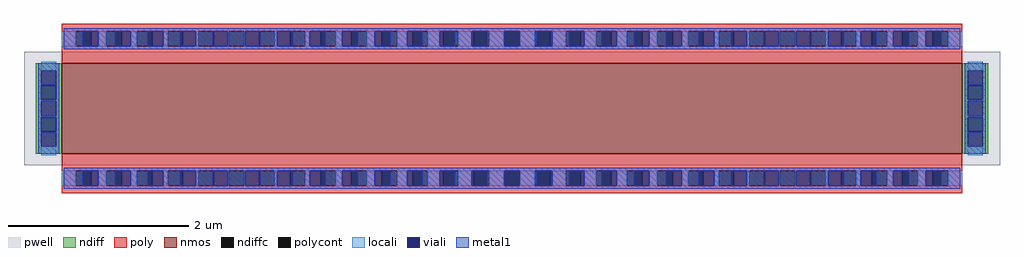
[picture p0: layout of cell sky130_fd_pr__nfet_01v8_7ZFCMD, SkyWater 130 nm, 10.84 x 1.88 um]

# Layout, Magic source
magic
tech sky130A
magscale 1 2
<< pwell >>
rect -1084 -126 1084 126
<< nmos >>
rect -1000 -100 1000 100
<< ndiff >>
rect -1058 85 -1000 100
rect -1058 51 -1046 85
rect -1012 51 -1000 85
rect -1058 17 -1000 51
rect -1058 -17 -1046 17
rect -1012 -17 -1000 17
rect -1058 -51 -1000 -17
rect -1058 -85 -1046 -51
rect -1012 -85 -1000 -51
rect -1058 -100 -1000 -85
rect 1000 85 1058 100
rect 1000 51 1012 85
rect 1046 51 1058 85
rect 1000 17 1058 51
rect 1000 -17 1012 17
rect 1046 -17 1058 17
rect 1000 -51 1058 -17
rect 1000 -85 1012 -51
rect 1046 -85 1058 -51
rect 1000 -100 1058 -85
<< ndiffc >>
rect -1046 51 -1012 85
rect -1046 -17 -1012 17
rect -1046 -85 -1012 -51
rect 1012 51 1046 85
rect 1012 -17 1046 17
rect 1012 -85 1046 -51
<< poly >>
rect -1000 172 1000 188
rect -1000 138 -969 172
rect -935 138 -901 172
rect -867 138 -833 172
rect -799 138 -765 172
rect -731 138 -697 172
rect -663 138 -629 172
rect -595 138 -561 172
rect -527 138 -493 172
rect -459 138 -425 172
rect -391 138 -357 172
rect -323 138 -289 172
rect -255 138 -221 172
rect -187 138 -153 172
rect -119 138 -85 172
rect -51 138 -17 172
rect 17 138 51 172
rect 85 138 119 172
rect 153 138 187 172
rect 221 138 255 172
rect 289 138 323 172
rect 357 138 391 172
rect 425 138 459 172
rect 493 138 527 172
rect 561 138 595 172
rect 629 138 663 172
rect 697 138 731 172
rect 765 138 799 172
rect 833 138 867 172
rect 901 138 935 172
rect 969 138 1000 172
rect -1000 100 1000 138
rect -1000 -138 1000 -100
rect -1000 -172 -969 -138
rect -935 -172 -901 -138
rect -867 -172 -833 -138
rect -799 -172 -765 -138
rect -731 -172 -697 -138
rect -663 -172 -629 -138
rect -595 -172 -561 -138
rect -527 -172 -493 -138
rect -459 -172 -425 -138
rect -391 -172 -357 -138
rect -323 -172 -289 -138
rect -255 -172 -221 -138
rect -187 -172 -153 -138
rect -119 -172 -85 -138
rect -51 -172 -17 -138
rect 17 -172 51 -138
rect 85 -172 119 -138
rect 153 -172 187 -138
rect 221 -172 255 -138
rect 289 -172 323 -138
rect 357 -172 391 -138
rect 425 -172 459 -138
rect 493 -172 527 -138
rect 561 -172 595 -138
rect 629 -172 663 -138
rect 697 -172 731 -138
rect 765 -172 799 -138
rect 833 -172 867 -138
rect 901 -172 935 -138
rect 969 -172 1000 -138
rect -1000 -188 1000 -172
<< polycont >>
rect -969 138 -935 172
rect -901 138 -867 172
rect -833 138 -799 172
rect -765 138 -731 172
rect -697 138 -663 172
rect -629 138 -595 172
rect -561 138 -527 172
rect -493 138 -459 172
rect -425 138 -391 172
rect -357 138 -323 172
rect -289 138 -255 172
rect -221 138 -187 172
rect -153 138 -119 172
rect -85 138 -51 172
rect -17 138 17 172
rect 51 138 85 172
rect 119 138 153 172
rect 187 138 221 172
rect 255 138 289 172
rect 323 138 357 172
rect 391 138 425 172
rect 459 138 493 172
rect 527 138 561 172
rect 595 138 629 172
rect 663 138 697 172
rect 731 138 765 172
rect 799 138 833 172
rect 867 138 901 172
rect 935 138 969 172
rect -969 -172 -935 -138
rect -901 -172 -867 -138
rect -833 -172 -799 -138
rect -765 -172 -731 -138
rect -697 -172 -663 -138
rect -629 -172 -595 -138
rect -561 -172 -527 -138
rect -493 -172 -459 -138
rect -425 -172 -391 -138
rect -357 -172 -323 -138
rect -289 -172 -255 -138
rect -221 -172 -187 -138
rect -153 -172 -119 -138
rect -85 -172 -51 -138
rect -17 -172 17 -138
rect 51 -172 85 -138
rect 119 -172 153 -138
rect 187 -172 221 -138
rect 255 -172 289 -138
rect 323 -172 357 -138
rect 391 -172 425 -138
rect 459 -172 493 -138
rect 527 -172 561 -138
rect 595 -172 629 -138
rect 663 -172 697 -138
rect 731 -172 765 -138
rect 799 -172 833 -138
rect 867 -172 901 -138
rect 935 -172 969 -138
<< locali >>
rect -1000 138 -969 172
rect -919 138 -901 172
rect -847 138 -833 172
rect -775 138 -765 172
rect -703 138 -697 172
rect -631 138 -629 172
rect -595 138 -593 172
rect -527 138 -521 172
rect -459 138 -449 172
rect -391 138 -377 172
rect -323 138 -305 172
rect -255 138 -233 172
rect -187 138 -161 172
rect -119 138 -89 172
rect -51 138 -17 172
rect 17 138 51 172
rect 89 138 119 172
rect 161 138 187 172
rect 233 138 255 172
rect 305 138 323 172
rect 377 138 391 172
rect 449 138 459 172
rect 521 138 527 172
rect 593 138 595 172
rect 629 138 631 172
rect 697 138 703 172
rect 765 138 775 172
rect 833 138 847 172
rect 901 138 919 172
rect 969 138 1000 172
rect -1046 85 -1012 104
rect -1046 17 -1012 19
rect -1046 -19 -1012 -17
rect -1046 -104 -1012 -85
rect 1012 85 1046 104
rect 1012 17 1046 19
rect 1012 -19 1046 -17
rect 1012 -104 1046 -85
rect -1000 -172 -969 -138
rect -919 -172 -901 -138
rect -847 -172 -833 -138
rect -775 -172 -765 -138
rect -703 -172 -697 -138
rect -631 -172 -629 -138
rect -595 -172 -593 -138
rect -527 -172 -521 -138
rect -459 -172 -449 -138
rect -391 -172 -377 -138
rect -323 -172 -305 -138
rect -255 -172 -233 -138
rect -187 -172 -161 -138
rect -119 -172 -89 -138
rect -51 -172 -17 -138
rect 17 -172 51 -138
rect 89 -172 119 -138
rect 161 -172 187 -138
rect 233 -172 255 -138
rect 305 -172 323 -138
rect 377 -172 391 -138
rect 449 -172 459 -138
rect 521 -172 527 -138
rect 593 -172 595 -138
rect 629 -172 631 -138
rect 697 -172 703 -138
rect 765 -172 775 -138
rect 833 -172 847 -138
rect 901 -172 919 -138
rect 969 -172 1000 -138
<< viali >>
rect -953 138 -935 172
rect -935 138 -919 172
rect -881 138 -867 172
rect -867 138 -847 172
rect -809 138 -799 172
rect -799 138 -775 172
rect -737 138 -731 172
rect -731 138 -703 172
rect -665 138 -663 172
rect -663 138 -631 172
rect -593 138 -561 172
rect -561 138 -559 172
rect -521 138 -493 172
rect -493 138 -487 172
rect -449 138 -425 172
rect -425 138 -415 172
rect -377 138 -357 172
rect -357 138 -343 172
rect -305 138 -289 172
rect -289 138 -271 172
rect -233 138 -221 172
rect -221 138 -199 172
rect -161 138 -153 172
rect -153 138 -127 172
rect -89 138 -85 172
rect -85 138 -55 172
rect -17 138 17 172
rect 55 138 85 172
rect 85 138 89 172
rect 127 138 153 172
rect 153 138 161 172
rect 199 138 221 172
rect 221 138 233 172
rect 271 138 289 172
rect 289 138 305 172
rect 343 138 357 172
rect 357 138 377 172
rect 415 138 425 172
rect 425 138 449 172
rect 487 138 493 172
rect 493 138 521 172
rect 559 138 561 172
rect 561 138 593 172
rect 631 138 663 172
rect 663 138 665 172
rect 703 138 731 172
rect 731 138 737 172
rect 775 138 799 172
rect 799 138 809 172
rect 847 138 867 172
rect 867 138 881 172
rect 919 138 935 172
rect 935 138 953 172
rect -1046 51 -1012 53
rect -1046 19 -1012 51
rect -1046 -51 -1012 -19
rect -1046 -53 -1012 -51
rect 1012 51 1046 53
rect 1012 19 1046 51
rect 1012 -51 1046 -19
rect 1012 -53 1046 -51
rect -953 -172 -935 -138
rect -935 -172 -919 -138
rect -881 -172 -867 -138
rect -867 -172 -847 -138
rect -809 -172 -799 -138
rect -799 -172 -775 -138
rect -737 -172 -731 -138
rect -731 -172 -703 -138
rect -665 -172 -663 -138
rect -663 -172 -631 -138
rect -593 -172 -561 -138
rect -561 -172 -559 -138
rect -521 -172 -493 -138
rect -493 -172 -487 -138
rect -449 -172 -425 -138
rect -425 -172 -415 -138
rect -377 -172 -357 -138
rect -357 -172 -343 -138
rect -305 -172 -289 -138
rect -289 -172 -271 -138
rect -233 -172 -221 -138
rect -221 -172 -199 -138
rect -161 -172 -153 -138
rect -153 -172 -127 -138
rect -89 -172 -85 -138
rect -85 -172 -55 -138
rect -17 -172 17 -138
rect 55 -172 85 -138
rect 85 -172 89 -138
rect 127 -172 153 -138
rect 153 -172 161 -138
rect 199 -172 221 -138
rect 221 -172 233 -138
rect 271 -172 289 -138
rect 289 -172 305 -138
rect 343 -172 357 -138
rect 357 -172 377 -138
rect 415 -172 425 -138
rect 425 -172 449 -138
rect 487 -172 493 -138
rect 493 -172 521 -138
rect 559 -172 561 -138
rect 561 -172 593 -138
rect 631 -172 663 -138
rect 663 -172 665 -138
rect 703 -172 731 -138
rect 731 -172 737 -138
rect 775 -172 799 -138
rect 799 -172 809 -138
rect 847 -172 867 -138
rect 867 -172 881 -138
rect 919 -172 935 -138
rect 935 -172 953 -138
<< metal1 >>
rect -996 172 996 178
rect -996 138 -953 172
rect -919 138 -881 172
rect -847 138 -809 172
rect -775 138 -737 172
rect -703 138 -665 172
rect -631 138 -593 172
rect -559 138 -521 172
rect -487 138 -449 172
rect -415 138 -377 172
rect -343 138 -305 172
rect -271 138 -233 172
rect -199 138 -161 172
rect -127 138 -89 172
rect -55 138 -17 172
rect 17 138 55 172
rect 89 138 127 172
rect 161 138 199 172
rect 233 138 271 172
rect 305 138 343 172
rect 377 138 415 172
rect 449 138 487 172
rect 521 138 559 172
rect 593 138 631 172
rect 665 138 703 172
rect 737 138 775 172
rect 809 138 847 172
rect 881 138 919 172
rect 953 138 996 172
rect -996 132 996 138
rect -1052 53 -1006 100
rect -1052 19 -1046 53
rect -1012 19 -1006 53
rect -1052 -19 -1006 19
rect -1052 -53 -1046 -19
rect -1012 -53 -1006 -19
rect -1052 -100 -1006 -53
rect 1006 53 1052 100
rect 1006 19 1012 53
rect 1046 19 1052 53
rect 1006 -19 1052 19
rect 1006 -53 1012 -19
rect 1046 -53 1052 -19
rect 1006 -100 1052 -53
rect -996 -138 996 -132
rect -996 -172 -953 -138
rect -919 -172 -881 -138
rect -847 -172 -809 -138
rect -775 -172 -737 -138
rect -703 -172 -665 -138
rect -631 -172 -593 -138
rect -559 -172 -521 -138
rect -487 -172 -449 -138
rect -415 -172 -377 -138
rect -343 -172 -305 -138
rect -271 -172 -233 -138
rect -199 -172 -161 -138
rect -127 -172 -89 -138
rect -55 -172 -17 -138
rect 17 -172 55 -138
rect 89 -172 127 -138
rect 161 -172 199 -138
rect 233 -172 271 -138
rect 305 -172 343 -138
rect 377 -172 415 -138
rect 449 -172 487 -138
rect 521 -172 559 -138
rect 593 -172 631 -138
rect 665 -172 703 -138
rect 737 -172 775 -138
rect 809 -172 847 -138
rect 881 -172 919 -138
rect 953 -172 996 -138
rect -996 -178 996 -172
<< end >>
